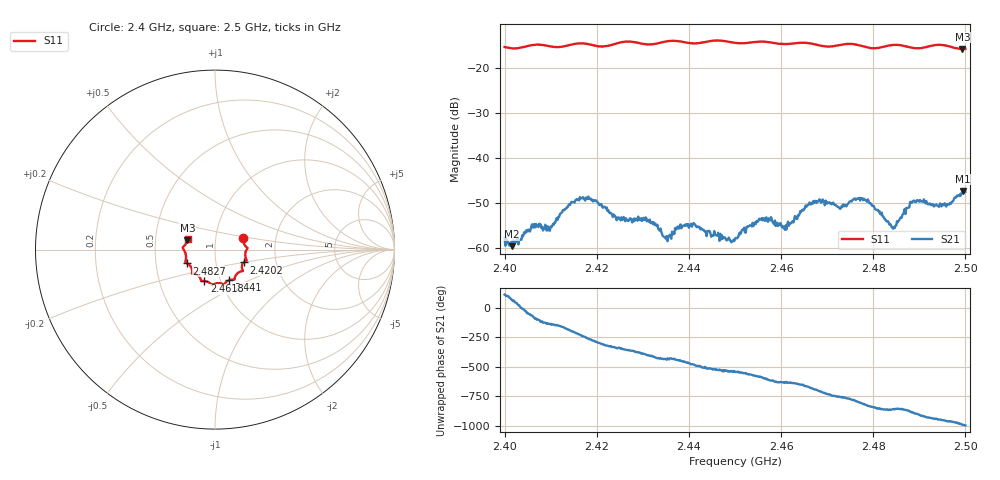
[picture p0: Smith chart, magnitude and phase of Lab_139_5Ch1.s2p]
# Hz S RI R 50
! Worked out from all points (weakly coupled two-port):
!   601 points, 2.4 GHz to 2.5 GHz, reference 50 ohm
!   highest |S21| = -47.35 dB at 2.4995 GHz (marker M1); lowest = -59.6 dB at 2.4015 GHz (marker M2)
!   lowest |S11| = -15.8 dB at 2.4993 GHz (marker M3), VSWR 1.39, Z = 36.5 + j3.81 ohm
!   |S11| at or under -10 dB: start of sweep to end of sweep
!   S12 and S22 are empty: the file has one direction only
!   S11 on the Smith chart (normalised r, x): 2.4 GHz: 1.36, +0.18; 2.4202 GHz: 1.36, -0.20; 2.441 GHz: 1.10, -0.39; 2.4618 GHz: 0.84, -0.30; 2.4827 GHz: 0.72, -0.11; 2.5 GHz: 0.73, +0.09
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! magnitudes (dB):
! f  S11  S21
! 2.4 GHz  -15.4  -57.8
! 2.4015 GHz  -15.6  -59.6
! 2.4063 GHz  -14.9  -54.8
! 2.4102 GHz  -15.3  -55.4
! 2.4167 GHz  -14.5  -49.0
! 2.4202 GHz  -15.2  -49.8
! 2.4333 GHz  -14.5  -55.7
! 2.435 GHz  -14.1  -57.9
! 2.441 GHz  -14.6  -54.5
! 2.45 GHz  -14.4  -57.9
! 2.4557 GHz  -14.2  -53.7
! 2.4618 GHz  -14.7  -54.5
! 2.4667 GHz  -14.6  -50.0
! 2.4778 GHz  -15.2  -49.4
! 2.4827 GHz  -15.2  -53.7
! 2.4833 GHz  -15.0  -54.3
! 2.4845 GHz  -14.9  -55.3
! 2.4885 GHz  -15.5  -49.8
! 2.4963 GHz  -15.2  -50.3
! 2.4993 GHz  -15.8  -47.6
! 2.4995 GHz  -15.8  -47.3
! 2.5 GHz  -15.7  -47.5
